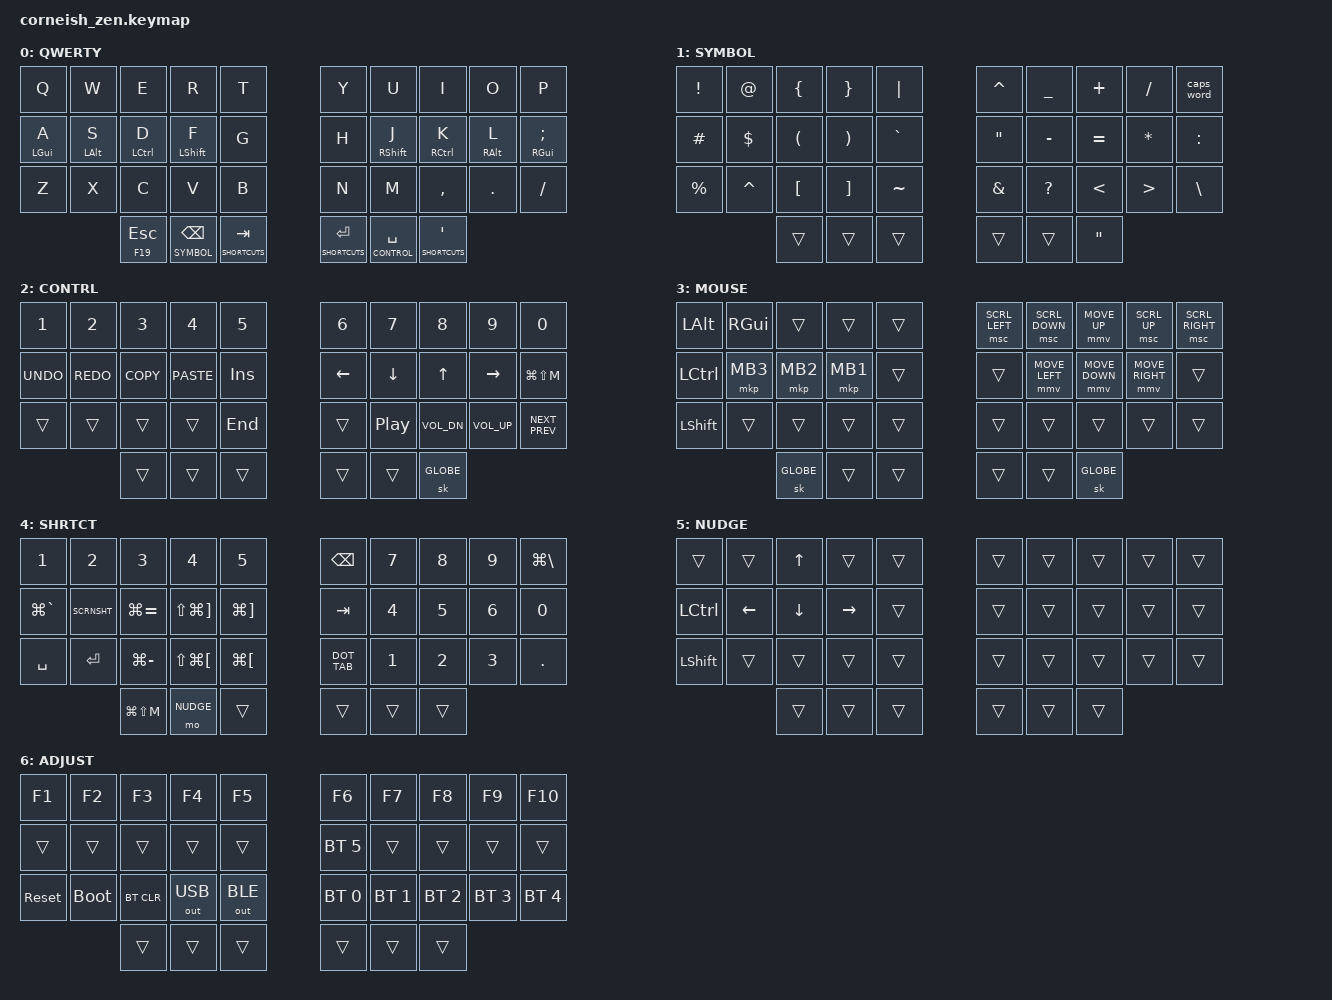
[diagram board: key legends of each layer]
/*
 * Copyright (c) 2020 The ZMK Contributors
 *
 * SPDX-License-Identifier: MIT
 */

#define ZMK_POINTING_DEFAULT_MOVE_VAL 1500
#define ZMK_POINTING_DEFAULT_SCRL_VAL 20

#include <behaviors.dtsi>
#include <dt-bindings/zmk/bt.h>
#include <dt-bindings/zmk/keys.h>
#include <dt-bindings/zmk/matrix_transform.h>
#include <dt-bindings/zmk/outputs.h>
#include <dt-bindings/zmk/pointing.h>

/* LAYERS */
#define QWERTY    0
#define SYMBOL    1
#define CONTROL   2
#define MOUSE     3
#define SHORTCUTS 4
#define NUDGE     5
#define ADJUST    6

/* MACROS */
#define SWIN LG(GRAVE)
#define SCRN LG(LS(LC(N4)))
#define SCR2 LG(LS(N4))
#define ZMIN LG(EQUAL)
#define ZOUT LG(MINUS)
#define TABN LS(LG(RBKT))
#define TABP LS(LG(LBKT))
#define HBCK LG(LBKT)
#define HFWD LG(RBKT)
#define PASS LG(BSLH)
#define MUTE LG(LS(M))

&mt {
  tapping-term-ms = <150>;
};

/ {
  chosen {
    zmk,matrix_transform = &five_column_transform;
  };

  combos {
    compatible = "zmk,combos";
    combo_esc {
      timeout-ms = <50>;
      key-positions = <0 1>;
      bindings = <&kp ESC>;
      layers = <0>;
    };
    combo_quote {
      timeout-ms = <50>;
      key-positions = <18 19>;
      bindings = <&kp SQT>;
      layers = <0>;
    };
    combo_hyper {
      timeout-ms = <50>;
      key-positions = <10 19>;
      bindings = <&sk F19>;
      layers = <0>;
    };
  };

  conditional_layers {
    compatible = "zmk,conditional-layers";

    mouse_layer {
      if-layers = <SYMBOL CONTROL>;
      then-layer = <MOUSE>;
    };

    adjust_layer {
      if-layers = <SHORTCUTS CONTROL>;
      then-layer = <ADJUST>;
    };
  };

  behaviors {
    hm: homerow_mods {
      compatible = "zmk,behavior-hold-tap";
      label = "HOMEROW_MODS";
      #binding-cells = <2>;
      tapping-term-ms = <150>;
      quick_tap_ms = <0>;
      flavor = "tap-preferred";
      bindings = <&kp>, <&kp>;
    };
    NEXT_PREV: tap_dance_0 {
      compatible = "zmk,behavior-tap-dance";
      label = "NEXT_PREV";
      #binding-cells = <0>;
      tapping-term-ms = <200>;
      bindings = <&kp C_NEXT>, <&kp C_PREV>;
    };
    SCRNSHT: tap_dance_1 {
      compatible = "zmk,behavior-tap-dance";
      label = "SCRNSHT";
      #binding-cells = <0>;
      tapping-term-ms = <200>;
      bindings = <&kp SCRN>, <&kp SCR2>;
    };
    DOT_TAB: tap_dance_3 {
      compatible = "zmk,behavior-tap-dance";
      label = "DOT_TAB";
      #binding-cells = <0>;
      tapping-term-ms = <200>;
      bindings = <&kp DOT>, <&kp TAB>;
    };
  };

  keymap {
    compatible = "zmk,keymap";

    qwerty_layer {
      label = "QWERTY";
      bindings = <
 &kp Q      &kp W      &kp E       &kp R        &kp T &kp Y &kp U        &kp I       &kp O      &kp P
 &hm LGUI A &hm LALT S &hm LCTRL D &hm LSHIFT F &kp G &kp H &hm RSHIFT J &hm RCTRL K &hm RALT L &hm RGUI SEMI
 &kp Z      &kp X      &kp C       &kp V        &kp B &kp N &kp M        &kp COMMA   &kp DOT    &kp FSLH
 &mt F19 ESC &lt SYMBOL BSPC &lt SHORTCUTS TAB &lt SHORTCUTS RET &lt CONTROL SPACE &lt SHORTCUTS SQT
      >;
    };
    symbol_layer {
      label = "SYMBOL";
      bindings = <
&kp EXCL    &kp AT     &kp LBRC &kp RBRC &kp PIPE  &kp CARET &kp UNDER &kp PLUS  &kp SLASH &caps_word
&kp HASH    &kp DOLLAR &kp LPRN &kp RPRN &kp GRAVE &kp DQT   &kp MINUS &kp EQUAL &kp STAR  &kp COLON
&kp PERCENT &kp CARET  &kp LBKT &kp RBKT &kp TILDE &kp AMPS  &kp QMARK &kp LT    &kp GT    &kp BACKSLASH
                             &trans &trans &trans &trans &trans &kp DQT
      >;
    };

    control_layer {
      label = "CONTRL";
      bindings = <
&kp N1     &kp N2     &kp N3     &kp N4      &kp N5       &kp N6   &kp N7           &kp N8       &kp N9       &kp N0
&kp K_UNDO &kp K_REDO &kp K_COPY &kp K_PASTE &kp INS      &kp LEFT &kp DOWN         &kp UP       &kp RIGHT    &kp MUTE
&trans     &trans     &trans     &trans      &kp END      &trans   &kp C_PLAY_PAUSE &kp C_VOL_DN &kp C_VOL_UP &NEXT_PREV
                      &trans     &trans      &trans       &trans   &trans           &sk GLOBE
      >;
    };

    mouse_layer {
      label = "MOUSE";
      bindings = <
&kp LALT  &kp RGUI   &trans     &trans    &trans      &msc SCRL_LEFT &msc SCRL_DOWN   &mmv MOVE_UP    &msc SCRL_UP   &msc SCRL_RIGHT
&kp LCTRL &mkp MB3   &mkp MB2   &mkp MB1  &trans      &trans          &mmv MOVE_LEFT  &mmv MOVE_DOWN  &mmv MOVE_RIGHT &trans
&kp LSHFT &trans     &trans     &trans    &trans      &trans          &trans           &trans          &trans         &trans
                     &sk GLOBE  &trans    &trans      &trans          &trans           &sk GLOBE
      >;
    };

    shortcuts_layer {
      label = "SHRTCT";
      bindings = <
&kp N1   &kp N2   &kp N3   &kp N4     &kp N5   &kp BSPC &kp N7 &kp N8 &kp N9 &kp PASS
&kp SWIN &SCRNSHT &kp ZMIN &kp TABN   &kp HFWD &kp TAB   &kp N4 &kp N5 &kp N6 &kp N0
&kp SPC  &kp RET  &kp ZOUT &kp TABP   &kp HBCK &DOT_TAB &kp N1 &kp N2 &kp N3 &kp DOT
                  &kp MUTE &mo NUDGE  &trans   &trans   &trans &trans
      >;
    };

    arrows_layer {
      label = "NUDGE";
      bindings = <
&trans    &trans   &kp UP   &trans    &trans &trans &trans &trans &trans &trans
&kp LCTRL &kp LEFT &kp DOWN &kp RIGHT &trans &trans &trans &trans &trans &trans
&kp LSHFT &trans   &trans   &trans    &trans &trans &trans &trans &trans &trans
              &trans &trans &trans &trans &trans &trans
      >;
    };

    adjust_layer {
      label = "ADJUST";
      bindings = <
 &kp F1     &kp F2      &kp F3     &kp F4       &kp F5       &kp F6       &kp F7       &kp F8       &kp F9       &kp F10
 &trans     &trans      &trans     &trans       &trans       &bt BT_SEL 5 &trans       &trans       &trans       &trans
 &sys_reset &bootloader &bt BT_CLR &out OUT_USB &out OUT_BLE &bt BT_SEL 0 &bt BT_SEL 1 &bt BT_SEL 2 &bt BT_SEL 3 &bt BT_SEL 4
 &trans     &trans      &trans     &trans       &trans       &trans
      >;
   };

  };
};


